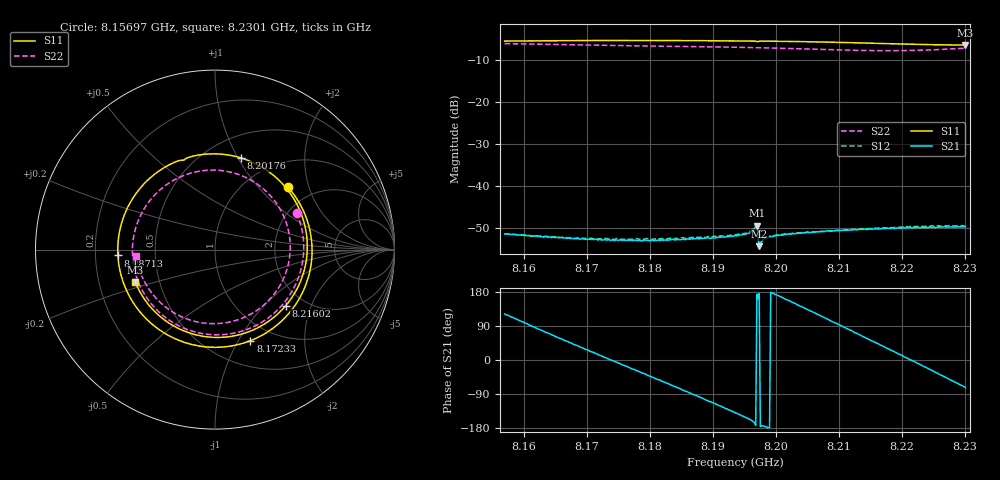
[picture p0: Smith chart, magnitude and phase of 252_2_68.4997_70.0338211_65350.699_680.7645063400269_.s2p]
#  HZ  S  RI  R  50.00
! Rohde & Schwarz Vector Network Analyzer
! Rohde-Schwarz,ZNB20-2Port,1311601062101988,3.16
! Created: UTC 3/20/2024, 4:59:53 PM
! freq[Hz]  re:S11  im:S11  re:S21  im:S21  re:S12  im:S12  re:S22  im:S22
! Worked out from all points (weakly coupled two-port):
!   401 points, 8.15697 GHz to 8.2301 GHz, reference 50 ohm
!   highest |S21| = -49.49 dB at 8.19701 GHz (marker M1); lowest = -54.4 dB at 8.19737 GHz (marker M2)
!   lowest |S11| = -6.4 dB at 8.2301 GHz (marker M3), VSWR 2.84, Z = 18.2 - j8.51 ohm
!   |S11| at or under -10 dB: nowhere
!   |S22| runs from -7.7 to -6.0 dB; largest |S21 - S12| = 0.00023
!   S11 on the Smith chart (normalised r, x): 8.15697 GHz: 1.50, +1.47; 8.17233 GHz: 0.78, -1.12; 8.18713 GHz: 0.30, -0.03; 8.20176 GHz: 0.73, +1.03; 8.21602 GHz: 1.60, -1.34; 8.2301 GHz: 0.36, -0.17
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8.156969e9  0.4051 0.3495  -0.0014 0.00228  -0.0014 0.00226  0.4546 0.2064
8.163185e9  0.5401 -0.0343  0.000613 0.00239  0.000578 0.00239  0.4625 -0.1618
8.169218e9  0.3741 -0.3951  0.00198 0.00126  0.00198 0.0013  0.2313 -0.4213
8.172326e9  0.197 -0.5075  0.00222 0.000434  0.00229 0.000457  0.0601 -0.4724
8.176897e9  -0.1104 -0.5331  0.0021 -0.000791  0.00217 -0.000824  -0.1936 -0.4285
8.181467e9  -0.3839 -0.3848  0.00137 -0.0018  0.00139 -0.00188  -0.385 -0.2614
8.187135e9  -0.541 -0.0326  -0.0001 -0.00233  -0.000126 -0.00241  -0.4579 0.0396
8.190243e9  -0.5096 0.1812  -0.000975 -0.00218  -0.00112 -0.00226  -0.408 0.2039
8.193534e9  -0.3871 0.375  -0.00192 -0.0017  -0.002 -0.00164  -0.2922 0.3447
8.196642e9  -0.2032 0.4948  -0.00301 -0.000753  -0.00313 -0.000633  -0.1387 0.4251
8.197007e9  -0.1773 0.4979  -0.00333 0.000364  -0.00339 0.000502  -0.1189 0.4303
8.197373e9  -0.1617 0.5076  -0.00191 0.000149  -0.00196 0.000216  -0.099 0.4348
8.197739e9  -0.136 0.5172  -0.00213 -0.000247  -0.00219 -0.000158  -0.0787 0.4383
8.201761e9  0.1464 0.5103  -0.00247 0.000954  -0.00246 0.00106  0.1464 0.4126
8.205783e9  0.3834 0.3584  -0.00168 0.00223  -0.00164 0.0023  0.3306 0.2739
8.210902e9  0.5141 0.0256  0.000189 0.00296  0.000277 0.00296  0.4184 -0.0128
8.216021e9  0.3932 -0.3136  0.0022 0.00215  0.0023 0.00214  0.2861 -0.2958
8.218032e9  0.2843 -0.4091  0.00276 0.00149  0.00284 0.00141  0.18 -0.3694
8.220957e9  0.0876 -0.4838  0.00319 0.000232  0.00325 0.000105  -0.00602 -0.4129
8.2237e9  -0.1093 -0.4742  0.00302 -0.00102  0.00309 -0.00119  -0.1856 -0.3746
8.227173e9  -0.327 -0.3536  0.0022 -0.00237  0.00215 -0.00255  -0.3663 -0.2225
8.230099e9  -0.4444 -0.1802  0.000992 -0.0031  0.000856 -0.00324  -0.4394 -0.0335
